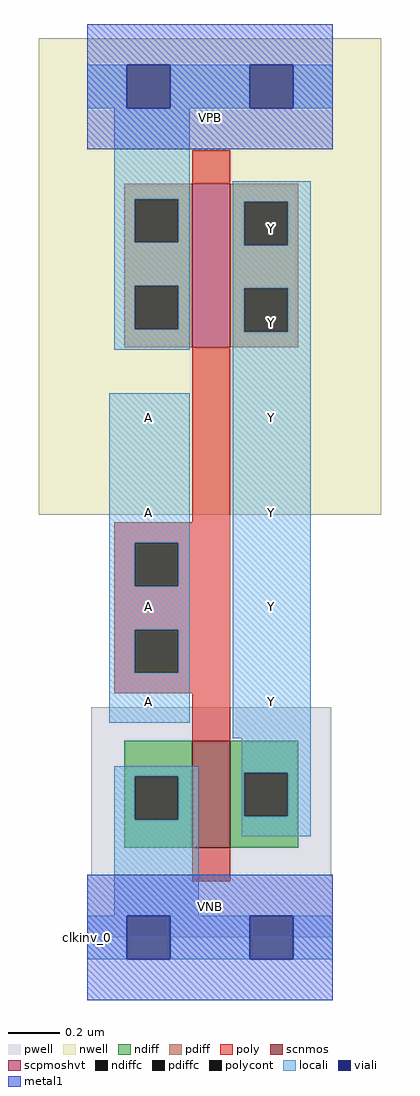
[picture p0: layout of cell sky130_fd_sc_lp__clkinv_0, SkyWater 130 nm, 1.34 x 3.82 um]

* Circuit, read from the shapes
.subckt sky130_fd_sc_lp__clkinv_0 A VGND VNB VPB VPWR Y
XM1 Y A VGND VNB sky130_fd_pr__nfet_01v8 w=0.42 l=0.15
XM2 Y A VPWR VPB sky130_fd_pr__pfet_01v8_hvt w=0.64 l=0.15
.ends

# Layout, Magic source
magic
tech sky130A
magscale 1 2
<< nwell >>
rect -38 331 230 704
<< pwell >>
rect 3 49 191 180
rect 0 0 192 49
<< scnmos >>
rect 82 70 112 154
<< scpmoshvt >>
rect 82 462 112 590
<< ndiff >>
rect 29 126 82 154
rect 29 92 37 126
rect 71 92 82 126
rect 29 70 82 92
rect 112 129 165 154
rect 112 95 123 129
rect 157 95 165 129
rect 112 70 165 95
<< pdiff >>
rect 29 578 82 590
rect 29 544 37 578
rect 71 544 82 578
rect 29 510 82 544
rect 29 476 37 510
rect 71 476 82 510
rect 29 462 82 476
rect 112 576 165 590
rect 112 542 123 576
rect 157 542 165 576
rect 112 508 165 542
rect 112 474 123 508
rect 157 474 165 508
rect 112 462 165 474
<< ndiffc >>
rect 37 92 71 126
rect 123 95 157 129
<< pdiffc >>
rect 37 544 71 578
rect 37 476 71 510
rect 123 542 157 576
rect 123 474 157 508
<< poly >>
rect 82 590 112 616
rect 82 325 112 462
rect 21 309 112 325
rect 21 275 37 309
rect 71 275 112 309
rect 21 241 112 275
rect 21 207 37 241
rect 71 207 112 241
rect 21 191 112 207
rect 82 154 112 191
rect 82 44 112 70
<< polycont >>
rect 37 275 71 309
rect 37 207 71 241
<< locali >>
rect 0 649 31 683
rect 65 649 127 683
rect 161 649 192 683
rect 21 578 80 649
rect 21 544 37 578
rect 71 544 80 578
rect 21 510 80 544
rect 21 476 37 510
rect 71 476 80 510
rect 21 460 80 476
rect 114 576 175 592
rect 114 542 123 576
rect 157 542 175 576
rect 114 508 175 542
rect 114 474 123 508
rect 157 474 175 508
rect 17 309 80 426
rect 17 275 37 309
rect 71 275 80 309
rect 17 241 80 275
rect 17 207 37 241
rect 71 207 80 241
rect 17 168 80 207
rect 114 156 175 474
rect 21 126 87 134
rect 21 92 37 126
rect 71 92 87 126
rect 21 17 87 92
rect 121 129 175 156
rect 121 95 123 129
rect 157 95 175 129
rect 121 79 175 95
rect 0 -17 31 17
rect 65 -17 127 17
rect 161 -17 192 17
<< viali >>
rect 31 649 65 683
rect 127 649 161 683
rect 31 -17 65 17
rect 127 -17 161 17
<< metal1 >>
rect 0 683 192 715
rect 0 649 31 683
rect 65 649 127 683
rect 161 649 192 683
rect 0 617 192 649
rect 0 17 192 49
rect 0 -17 31 17
rect 65 -17 127 17
rect 161 -17 192 17
rect 0 -49 192 -17
<< labels >>
flabel pwell s 0 0 192 49 0 FreeSans 200 0 0 0 VNB
port 3 nsew ground bidirectional
flabel nwell s 0 617 192 666 0 FreeSans 200 0 0 0 VPB
port 4 nsew power bidirectional
rlabel comment s 0 0 0 0 4 clkinv_0
flabel metal1 s 0 617 192 666 0 FreeSans 340 0 0 0 VPWR
port 5 nsew power bidirectional
flabel metal1 s 0 0 192 49 0 FreeSans 340 0 0 0 VGND
port 2 nsew ground bidirectional
flabel locali s 31 168 65 202 0 FreeSans 340 0 0 0 A
port 1 nsew signal input
flabel locali s 31 242 65 276 0 FreeSans 340 0 0 0 A
port 1 nsew signal input
flabel locali s 31 316 65 350 0 FreeSans 340 0 0 0 A
port 1 nsew signal input
flabel locali s 31 390 65 424 0 FreeSans 340 0 0 0 A
port 1 nsew signal input
flabel locali s 127 168 161 202 0 FreeSans 340 0 0 0 Y
port 6 nsew signal output
flabel locali s 127 242 161 276 0 FreeSans 340 0 0 0 Y
port 6 nsew signal output
flabel locali s 127 316 161 350 0 FreeSans 340 0 0 0 Y
port 6 nsew signal output
flabel locali s 127 390 161 424 0 FreeSans 340 0 0 0 Y
port 6 nsew signal output
flabel locali s 127 464 161 498 0 FreeSans 340 0 0 0 Y
port 6 nsew signal output
flabel locali s 127 538 161 572 0 FreeSans 340 0 0 0 Y
port 6 nsew signal output
<< properties >>
string LEFsite unit
string LEFclass CORE
string FIXED_BBOX 0 0 192 666
string GDS_FILE $PDKPATH/libs.ref/sky130_fd_sc_lp/gds/sky130_fd_sc_lp.gds
string LEFsymmetry X Y R90
string GDS_END 4769628
string GDS_START 4765858
<< end >>
